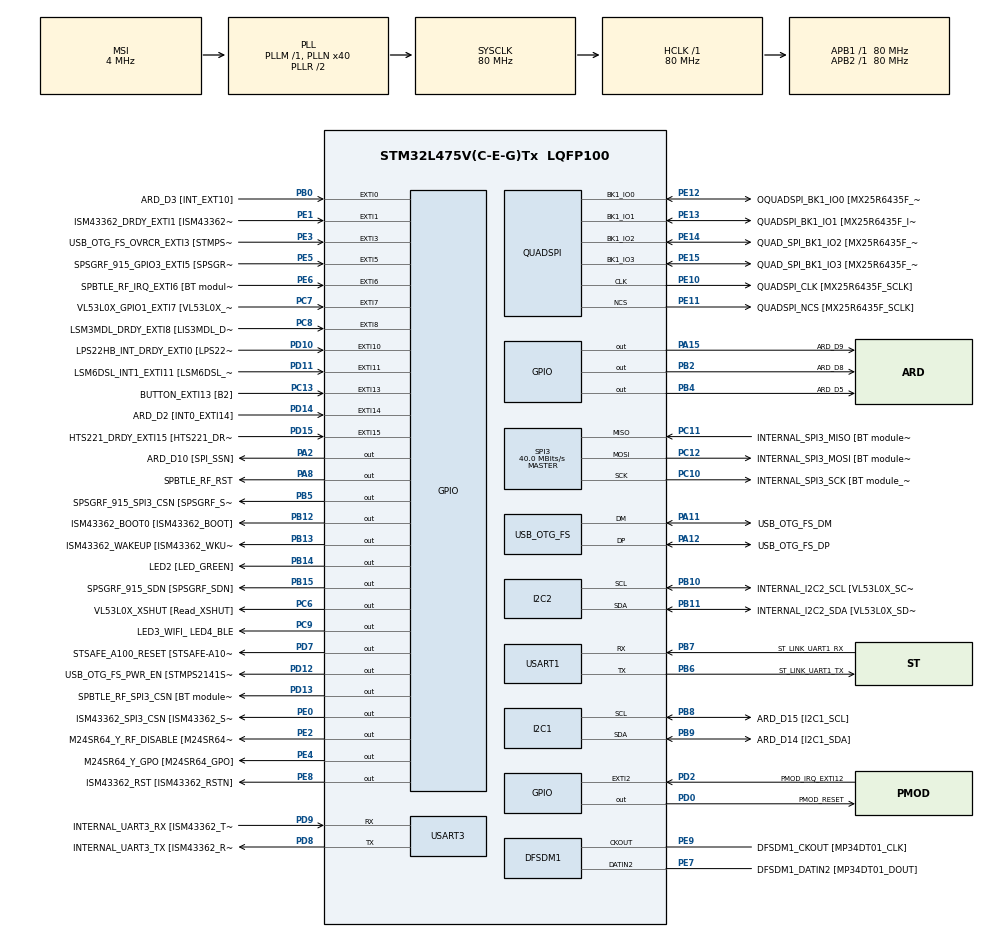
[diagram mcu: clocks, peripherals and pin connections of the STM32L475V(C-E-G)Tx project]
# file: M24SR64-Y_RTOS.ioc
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FREERTOS.Tasks01=defaultTask,0,128,StartDefaultTask,Default,NULL,Dynamic,NULL,NULL
I2C1.Timing=0x10D19CE4
Mcu.Family=STM32L4
Mcu.Name=STM32L475V(C-E-G)Tx
Mcu.Package=LQFP100
NVIC.EXTI15_10_IRQn=true\:5\:0\:false\:false\:true\:true\:true\:true\:true
NVIC.EXTI9_5_IRQn=true\:5\:0\:false\:false\:true\:true\:true\:true\:true
NVIC.PriorityGroup=NVIC_PRIORITYGROUP_4
PA0.GPIO_Label=ARD_D1 [UART4_TX]
PA0.Signal=UART4_TX
PA1.GPIO_Label=ARD_D0 [UART4_RX]
PA1.Signal=UART4_RX
PA10.GPIO_Label=USB_OTG_FS_ID
PA10.Signal=USB_OTG_FS_ID
PA11.GPIO_Label=USB_OTG_FS_DM
PA11.Mode=Device_Only
PA11.Signal=USB_OTG_FS_DM
PA12.GPIO_Label=USB_OTG_FS_DP
PA12.Mode=Device_Only
PA12.Signal=USB_OTG_FS_DP
PA13\ (JTMS-SWDIO).GPIO_Label=SYS_JTMS_SWDIO
PA13\ (JTMS-SWDIO).Mode=Serial_Wire
PA13\ (JTMS-SWDIO).Signal=SYS_JTMS-SWDIO
PA14\ (JTCK-SWCLK).GPIO_Label=SYS_JTCK_SWCLK
PA14\ (JTCK-SWCLK).Mode=Serial_Wire
PA14\ (JTCK-SWCLK).Signal=SYS_JTCK-SWCLK
PA15\ (JTDI).GPIO_Label=ARD_D9
PA15\ (JTDI).Signal=GPIO_Output
PA2.GPIO_Label=ARD_D10 [SPI_SSN]
PA2.Signal=GPIO_Output
PA3.GPIO_Label=ARD_D4
PA3.Signal=S_TIM2_CH4
PA4.GPIO_Label=ARD_D7
PA4.Signal=ADCx_IN9
PA5.GPIO_Label=ARD_D13 [SPI1_SCK]
PA5.Signal=SPI1_SCK
PA6.GPIO_Label=ARD_D12 [SPI1_MISO]
PA6.Signal=SPI1_MISO
PA7.GPIO_Label=ARD_D11 [SPI1_MOSI]
PA7.Signal=SPI1_MOSI
PA8.GPIO_Label=SPBTLE_RF_RST
PA8.Signal=GPIO_Output
PA9.GPIO_Label=USB_OTG_FS_VBUS [STMPS2141STR_OUT]
PA9.Signal=USB_OTG_FS_VBUS
PB0.GPIO_Label=ARD_D3 [INT_EXT10]
PB0.Signal=GPXTI0
PB1.GPIO_Label=ARD_D6 [ADC1_IN6]
PB1.Signal=ADCx_IN16
PB10.GPIO_Label=INTERNAL_I2C2_SCL [VL53L0X_SCL]
PB10.GPIO_Pu=GPIO_PULLUP
PB10.Mode=I2C
PB10.Signal=I2C2_SCL
PB11.GPIO_Label=INTERNAL_I2C2_SDA [VL53L0X_SDA]
PB11.GPIO_Pu=GPIO_PULLUP
PB11.Mode=I2C
PB11.Signal=I2C2_SDA
PB12.GPIO_Label=ISM43362_BOOT0 [ISM43362_BOOT]
PB12.Signal=GPIO_Output
PB13.GPIO_Label=ISM43362_WAKEUP [ISM43362_WKUP]
PB13.Signal=GPIO_Output
PB14.GPIO_Label=LED2 [LED_GREEN]
PB14.Signal=GPIO_Output
PB15.GPIO_Label=SPSGRF_915_SDN [SPSGRF_SDN]
PB15.Signal=GPIO_Output
PB2.GPIO_Label=ARD_D8
PB2.Signal=GPIO_Output
PB3\ (JTDO-TRACESWO).GPIO_Label=SYS_JTD0_SWO
PB3\ (JTDO-TRACESWO).Signal=SYS_JTDO-SWO
PB4\ (NJTRST).GPIO_Label=ARD_D5
PB4\ (NJTRST).Signal=GPIO_Output
PB5.GPIO_Label=SPSGRF_915_SPI3_CSN [SPSGRF_SPI_CS]
PB5.PinState=GPIO_PIN_SET
PB5.Signal=GPIO_Output
PB6.GPIO_Label=ST_LINK_UART1_TX
PB6.Mode=Asynchronous
PB6.Signal=USART1_TX
PB7.GPIO_Label=ST_LINK_UART1_RX
PB7.Mode=Asynchronous
PB7.Signal=USART1_RX
PB8.GPIO_Label=ARD_D15 [I2C1_SCL]
PB8.Mode=I2C
PB8.Signal=I2C1_SCL
PB9.GPIO_Label=ARD_D14 [I2C1_SDA]
PB9.Mode=I2C
PB9.Signal=I2C1_SDA
PC0.GPIO_Label=ARD_A5 [ADC]
PC0.Signal=ADCx_IN1
PC1.GPIO_Label=ARD_A4 [ADC]
PC1.Signal=ADCx_IN2
PC10.GPIO_Label=INTERNAL_SPI3_SCK [BT module_SPI_SCLK] [ISM43362_SCK]
PC10.Mode=Full_Duplex_Master
PC10.Signal=SPI3_SCK
PC11.GPIO_Label=INTERNAL_SPI3_MISO [BT module_SPI_MISO] [ISM43362_MISO]
PC11.Mode=Full_Duplex_Master
PC11.Signal=SPI3_MISO
PC12.GPIO_Label=INTERNAL_SPI3_MOSI [BT module_SPI_MOSI] [ISM43362_MOSI]
PC12.Mode=Full_Duplex_Master
PC12.Signal=SPI3_MOSI
PC13.GPIO_Label=BUTTON_EXTI13 [B2]
PC13.GPIO_ModeDefaultEXTI=GPIO_MODE_IT_FALLING
PC13.Signal=GPXTI13
PC14-OSC32_IN\ (PC14).Mode=LSE-External-Oscillator
PC14-OSC32_IN\ (PC14).Signal=RCC_OSC32_IN
PC15-OSC32_OUT\ (PC15).Mode=LSE-External-Oscillator
PC15-OSC32_OUT\ (PC15).Signal=RCC_OSC32_OUT
PC2.GPIO_Label=ARD_A3 [ADC]
PC2.Signal=ADCx_IN3
PC3.GPIO_Label=ARD_A2 [ADC]
PC3.Signal=ADCx_IN4
PC4.GPIO_Label=ARD_A1 [ADC]
PC4.Signal=ADCx_IN13
PC5.GPIO_Label=ARD_A0 [ADC]
PC5.Signal=ADCx_IN14
PC6.GPIO_Label=VL53L0X_XSHUT [Read_XSHUT]
PC6.Signal=GPIO_Output
PC7.GPIO_Label=VL53L0X_GPIO1_EXTI7 [VL53L0X_GPIO1]
PC7.Signal=GPXTI7
PC8.GPIO_Label=LSM3MDL_DRDY_EXTI8 [LIS3MDL_DRDY]
PC8.Signal=GPXTI8
PC9.GPIO_Label=LED3_WIFI_ LED4_BLE
PC9.Signal=GPIO_Output
PD0.GPIO_Label=PMOD_RESET
PD0.Signal=GPIO_Output
PD1.GPIO_Label=PMOD_SPI2_SCK
PD1.Signal=SPI2_SCK
PD10.GPIO_Label=LPS22HB_INT_DRDY_EXTI0 [LPS22HB_INT_DRDY] 
PD10.Signal=GPXTI10
PD11.GPIO_Label=LSM6DSL_INT1_EXTI11 [LSM6DSL_INT1]
PD11.Signal=GPXTI11
PD12.GPIO_Label=USB_OTG_FS_PWR_EN [STMPS2141STR_EN]
PD12.Signal=GPIO_Output
PD13.GPIO_Label=SPBTLE_RF_SPI3_CSN [BT module_SPI_CS]
PD13.PinState=GPIO_PIN_SET
PD13.Signal=GPIO_Output
PD14.GPIO_Label=ARD_D2 [INT0_EXTI14]
PD14.Signal=GPXTI14
PD15.GPIO_Label=HTS221_DRDY_EXTI15 [HTS221_DRDY]
PD15.Signal=GPXTI15
PD2.GPIO_Label=PMOD_IRQ_EXTI12
PD2.Signal=GPXTI2
PD3.GPIO_Label=PMOD_UART2_CTS
PD3.Signal=USART2_CTS
PD4.GPIO_Label=PMOD_UART2_RTS
PD4.Signal=USART2_RTS
PD5.GPIO_Label=PMOD_UART2_TX
PD5.Signal=USART2_TX
PD6.GPIO_Label=PMOD_UART2_RX
PD6.Signal=USART2_RX
PD7.GPIO_Label=STSAFE_A100_RESET [STSAFE-A100_RESET]
PD7.Signal=GPIO_Output
PD8.GPIO_Label=INTERNAL_UART3_TX [ISM43362_RX]
PD8.Mode=Asynchronous
PD8.Signal=USART3_TX
PD9.GPIO_Label=INTERNAL_UART3_RX [ISM43362_TX]
PD9.Mode=Asynchronous
PD9.Signal=USART3_RX
PE0.GPIO_Label=ISM43362_SPI3_CSN [ISM43362_SSN]
PE0.PinState=GPIO_PIN_SET
PE0.Signal=GPIO_Output
PE1.GPIO_Label=ISM43362_DRDY_EXTI1 [ISM43362_DATARDY]
PE1.Signal=GPXTI1
PE10.GPIO_Label=QUADSPI_CLK [MX25R6435F_SCLK]
PE10.Mode=Single Bank
PE10.Signal=QUADSPI_CLK
PE11.GPIO_Label=QUADSPI_NCS [MX25R6435F_SCLK]
PE11.Mode=Single Bank
PE11.Signal=QUADSPI_NCS
PE12.GPIO_Label=OQUADSPI_BK1_IO0 [MX25R6435F_IO0]
PE12.Mode=Single Bank
PE12.Signal=QUADSPI_BK1_IO0
PE13.GPIO_Label=QUADSPI_BK1_IO1 [MX25R6435F_IO1]
PE13.Mode=Single Bank
PE13.Signal=QUADSPI_BK1_IO1
PE14.GPIO_Label=QUAD_SPI_BK1_IO2 [MX25R6435F_IO2]
PE14.Mode=Single Bank
PE14.Signal=QUADSPI_BK1_IO2
PE15.GPIO_Label=QUAD_SPI_BK1_IO3 [MX25R6435F_IO3]
PE15.Mode=Single Bank
PE15.Signal=QUADSPI_BK1_IO3
PE2.GPIO_Label=M24SR64_Y_RF_DISABLE [M24SR64_RFDIS]
PE2.Signal=GPIO_Output
PE3.GPIO_Label=USB_OTG_FS_OVRCR_EXTI3 [STMPS2141STR_FAULT]
PE3.Signal=GPXTI3
PE4.GPIO_Label=M24SR64_Y_GPO [M24SR64_GPO]
PE4.Signal=GPIO_Output
PE5.GPIO_Label=SPSGRF_915_GPIO3_EXTI5 [SPSGRF_GPIO_3]
PE5.Signal=GPXTI5
PE6.GPIO_Label=SPBTLE_RF_IRQ_EXTI6 [BT module_SPI_IRQ]
PE6.Signal=GPXTI6
PE7.GPIO_Label=DFSDM1_DATIN2 [MP34DT01_DOUT]
PE7.Signal=S_DATAIN2DFSDM1
PE8.GPIO_Label=ISM43362_RST [ISM43362_RSTN]
PE8.Signal=GPIO_Output
PE9.GPIO_Label=DFSDM1_CKOUT [MP34DT01_CLK]
PE9.Signal=S_CKOUTDFSDM1
ProjectManager.HeapSize=0x200
ProjectManager.StackSize=0x400
ProjectManager.TargetToolchain=STM32CubeIDE
QUADSPI.ClockPrescaler=2
QUADSPI.FifoThreshold=4
QUADSPI.FlashSize=23
QUADSPI.SampleShifting=QSPI_SAMPLE_SHIFTING_HALFCYCLE
RCC.ADCFreq_Value=48000000
RCC.AHBFreq_Value=80000000
RCC.APB1Freq_Value=80000000
RCC.APB1TimFreq_Value=80000000
RCC.APB2Freq_Value=80000000
RCC.APB2TimFreq_Value=80000000
RCC.CortexFreq_Value=80000000
RCC.HCLKFreq_Value=80000000
RCC.HSE_VALUE=8000000
RCC.HSI_VALUE=16000000
RCC.MSI_VALUE=4000000
RCC.PLLN=40
RCC.PLLSAI1N=24
RCC.SYSCLKFreq_VALUE=80000000
RCC.SYSCLKSource=RCC_SYSCLKSOURCE_PLLCLK
RCC.USBFreq_Value=48000000
RCC.VCOOutputFreq_Value=160000000
SH.ADCx_IN1.0=ADC1_IN1
SH.ADCx_IN13.0=ADC1_IN13
SH.ADCx_IN14.0=ADC1_IN14
SH.ADCx_IN16.0=ADC1_IN16
SH.ADCx_IN2.0=ADC1_IN2
SH.ADCx_IN3.0=ADC1_IN3
SH.ADCx_IN4.0=ADC1_IN4
SH.ADCx_IN9.0=ADC1_IN9
SH.S_CKOUTDFSDM1.0=DFSDM1_CKOUT,CKOUT
SH.S_CKOUTDFSDM1.1=DFSDM1_CKOUT,PDM_SPI_Input_from_ch12_and_Internal_Clock
SH.S_DATAIN2DFSDM1.0=DFSDM1_DATIN2,PDM_SPI_Input_from_ch12_and_Internal_Clock
SH.S_TIM2_CH4.0=TIM2_CH4
SPI3.CalculateBaudRate=40.0 MBits/s
SPI3.Direction=SPI_DIRECTION_2LINES
SPI3.Mode=SPI_MODE_MASTER
SPI3.VirtualType=VM_MASTER
USART1.VirtualMode-Asynchronous=VM_ASYNC
USART3.VirtualMode-Asynchronous=VM_ASYNC
USB_OTG_FS.VirtualMode=Device_Only
VP_FREERTOS_VS_CMSIS_V1.Mode=CMSIS_V1
board=B-L475E-IOT01A1

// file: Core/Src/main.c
/* USER CODE BEGIN Header */
/**
  ******************************************************************************
  * @file           : main.c
  * @brief          : Main program body
  ******************************************************************************
  * @attention
  *
  * Copyright (c) 2026 STMicroelectronics.
  * All rights reserved.
  *
  * This software is licensed under terms that can be found in the LICENSE file
  * in the root directory of this software component.
  * If no LICENSE file comes with this software, it is provided AS-IS.
  *
  ******************************************************************************
  */
/* USER CODE END Header */
#include "main.h"
#include "cmsis_os.h"

/* USER CODE BEGIN Includes */
#include <string.h>
#include <stdio.h>
#include "task.h"
/* USER CODE END Includes */

/* USER CODE BEGIN PD */
#define M24SR_I2C_ADDR        (0x56 << 1)   /* = 0xAC  memory read/write  */
#define M24SR_I2C_ADDR_CMD    (0x57 << 1)   /* = 0xAE  extended commands  */
#define M24SR_HI2C            hi2c2
#define M24SR_I2C_TIMEOUT_MS  100
#define M24SR_WRITE_POLL_MS   5
#define M24SR_WRITE_POLL_MAX  40
#define M24SR_MEM_SIZE_BYTES  8192
#define M24SR_BLOCK_SIZE      4

#define M24SR_OK           0
#define M24SR_ERR_PARAM   -1
#define M24SR_ERR_I2C     -2
#define M24SR_ERR_TIMEOUT -3
/* USER CODE END PD */

DFSDM_Channel_HandleTypeDef hdfsdm1_channel1;

I2C_HandleTypeDef hi2c1;
I2C_HandleTypeDef hi2c2;

QSPI_HandleTypeDef hqspi;

SPI_HandleTypeDef hspi3;

UART_HandleTypeDef huart1;
UART_HandleTypeDef huart3;

PCD_HandleTypeDef hpcd_USB_OTG_FS;

osThreadId defaultTaskHandle;

void SystemClock_Config(void);
static void MX_GPIO_Init(void);
static void MX_DFSDM1_Init(void);
static void MX_I2C2_Init(void);
static void MX_QUADSPI_Init(void);
static void MX_SPI3_Init(void);
static void MX_USART1_UART_Init(void);
static void MX_USART3_UART_Init(void);
static void MX_USB_OTG_FS_PCD_Init(void);
static void MX_I2C1_Init(void);
void StartDefaultTask(void const * argument);

/* USER CODE BEGIN PFP */
int setupM24SR(void);
int peekM24SR(uint16_t adr, uint8_t *data);
int pokeM24SR(uint16_t adr, uint8_t *data);
int peekmultiM24SR(uint16_t adr, uint8_t *data, uint16_t count);
int pokemultiM24SR(uint16_t adr, uint8_t *data, uint16_t count);
/* USER CODE END PFP */

/* USER CODE BEGIN 0 */

/* M24SR NDEF command helpers */
#define M24SR_CMD_CLASS         0x00
#define M24SR_INS_SELECT        0xA4
#define M24SR_INS_READ          0xB0
#define M24SR_INS_UPDATE        0xD6

/* File IDs */
#define M24SR_FID_NDEF          0x0001   /* NDEF data file              */
#define M24SR_FID_SYS           0xE101   /* System file (read-only UID) */

static void uart_print(const char *s)
{
    HAL_UART_Transmit(&huart1, (const uint8_t *)s, strlen(s), 200);
}

/* Poll chip after write to detect if write cycle finished */
static int m24sr_wait_ready(void)
{
    for (int i = 0; i < M24SR_WRITE_POLL_MAX; i++)
    {
        if (HAL_I2C_Master_Transmit(&M24SR_HI2C, M24SR_I2C_ADDR,
                                     NULL, 0, M24SR_I2C_TIMEOUT_MS) == HAL_OK)
            return M24SR_OK;
        osDelay(M24SR_WRITE_POLL_MS);
    }
    return M24SR_ERR_TIMEOUT;
}

/* Get I2C session token */
static int m24sr_get_session(void)
{
    uint8_t cmd = 0x26;
    HAL_StatusTypeDef s = HAL_I2C_Master_Transmit(
            &M24SR_HI2C, M24SR_I2C_ADDR, &cmd, 1, M24SR_I2C_TIMEOUT_MS);
    if (s != HAL_OK) return M24SR_ERR_I2C;
    osDelay(5);
    return M24SR_OK;
}

/* Release existing session */
static int m24sr_kill_session(void)
{
    uint8_t cmd = 0x52;
    HAL_I2C_Master_Transmit(
            &M24SR_HI2C, M24SR_I2C_ADDR, &cmd, 1, M24SR_I2C_TIMEOUT_MS);
    osDelay(5);
    return M24SR_OK;
}

/* Compute a 16-bit CRC checksum over a block of bytes using the
 * CRC-16/CCITT algorithm with initial value 0x6363 */
static uint16_t m24sr_crc16(uint8_t *data, uint16_t len)
{
    uint16_t crc = 0x6363;
    for (uint16_t i = 0; i < len; i++)
    {
        uint8_t b = data[i] ^ (crc & 0xFF);
        b ^= (b << 4);
        crc = (crc >> 8) ^ ((uint16_t)b << 8) ^ ((uint16_t)b << 3) ^ (b >> 4);
    }
    return crc;
}

/* The core I2C framing function that all read and write operations go through */
static int m24sr_apdu(uint8_t *cmd, uint8_t cmd_len,
                       uint8_t *rsp, uint8_t *rsp_len)
{
	// build outgoing frame
    uint8_t frame[32];
    frame[0] = 0x02;
    memcpy(&frame[1], cmd, cmd_len);
    uint16_t crc = m24sr_crc16(frame, 1 + cmd_len);
    frame[1 + cmd_len]     = crc & 0xFF;
    frame[1 + cmd_len + 1] = (crc >> 8) & 0xFF;

    // transmit complete frame over I2C
    HAL_StatusTypeDef s = HAL_I2C_Master_Transmit(
            &M24SR_HI2C, M24SR_I2C_ADDR,
            frame, 1 + cmd_len + 2, M24SR_I2C_TIMEOUT_MS);
    if (s != HAL_OK) return M24SR_ERR_I2C;

    osDelay(20);

    // receive response frame and extract data
    uint8_t rbuf[32] = {0};
    s = HAL_I2C_Master_Receive(
            &M24SR_HI2C, M24SR_I2C_ADDR,
            rbuf, sizeof(rbuf), M24SR_I2C_TIMEOUT_MS);
    if (s != HAL_OK) return M24SR_ERR_I2C;

    if (rsp && rsp_len && *rsp_len > 0)
    {
        uint8_t n = *rsp_len;          // caller says how many data bytes expected
        memcpy(rsp, &rbuf[1], n);      // skip PCB, copy n data bytes
    }
    else if (rsp && rsp_len)
    {
        *rsp_len = 0;                  // write response: no data, just SW bytes
    }

    return M24SR_OK;
}

/* Select a file by FID */
static int m24sr_select_file(uint16_t fid)
{
    uint8_t cmd[7] = {
        M24SR_CMD_CLASS,
        M24SR_INS_SELECT,
        0x00, 0x0C,
        0x02,
        (fid >> 8) & 0xFF,
        fid & 0xFF
    };
    uint8_t rsp[32];
    uint8_t rlen = 0;
    return m24sr_apdu(cmd, sizeof(cmd), rsp, &rlen);
}

/* initialize access to device */
int setupM24SR(void)
{
    m24sr_kill_session();

    int rc = m24sr_get_session();
    if (rc != M24SR_OK) return rc;

    // Select NDEF file directly
    rc = m24sr_select_file(M24SR_FID_NDEF);
    return rc;
}

/* Write a single byte to the NDEF file at offset adr */
int peekM24SR(uint16_t adr, uint8_t *data)
{
    if (!data || adr >= M24SR_MEM_SIZE_BYTES) return M24SR_ERR_PARAM;
    uint8_t cmd[5] = {
        M24SR_CMD_CLASS, M24SR_INS_READ,
        (adr >> 8) & 0xFF, adr & 0xFF,
        0x01
    };
    uint8_t rsp[32]; uint8_t rlen = 1;   // expect 1 data byte
    int rc = m24sr_apdu(cmd, sizeof(cmd), rsp, &rlen);
    if (rc != M24SR_OK) return rc;
    *data = rsp[0];
    return M24SR_OK;
}

/* Read count consecutive bytes starting at offset adr in a single READ BINARY APDU with Le=count */
int peekmultiM24SR(uint16_t adr, uint8_t *data, uint16_t count)
{
    if (!data || count == 0 || count > 26) return M24SR_ERR_PARAM;
    if ((uint32_t)adr + count > M24SR_MEM_SIZE_BYTES) return M24SR_ERR_PARAM;
    uint8_t cmd[5] = {
        M24SR_CMD_CLASS, M24SR_INS_READ,
        (adr >> 8) & 0xFF, adr & 0xFF,
        (uint8_t)count
    };
    uint8_t rsp[32]; uint8_t rlen = (uint8_t)count;  // expect count data bytes
    int rc = m24sr_apdu(cmd, sizeof(cmd), rsp, &rlen);
    if (rc != M24SR_OK) return rc;
    memcpy(data, rsp, count);
    return M24SR_OK;
}

/* Write a single byte to the NDEF file at offset adr */
int pokeM24SR(uint16_t adr, uint8_t *data)
{
    if (!data || adr >= M24SR_MEM_SIZE_BYTES) return M24SR_ERR_PARAM;
    uint8_t cmd[6] = {
        M24SR_CMD_CLASS, M24SR_INS_UPDATE,
        (adr >> 8) & 0xFF, adr & 0xFF,
        0x01, *data
    };
    uint8_t rlen = 0;   // write: no data bytes returned
    int rc = m24sr_apdu(cmd, sizeof(cmd), NULL, &rlen);
    if (rc != M24SR_OK) return rc;
    return m24sr_wait_ready();
}

/* Write count bytes starting at offset adr, splitting the transfer into page-aligned
 * chunks of up to 4 bytes each (the M24SR's natural write page size). */
int pokemultiM24SR(uint16_t adr, uint8_t *data, uint16_t count)
{
    if (!data || count == 0) return M24SR_ERR_PARAM;
    if ((uint32_t)adr + count > M24SR_MEM_SIZE_BYTES) return M24SR_ERR_PARAM;

    uint16_t written = 0;
    while (written < count)
    {
        uint16_t cur   = adr + written;
        uint16_t chunk = count - written;
        if (chunk > M24SR_BLOCK_SIZE) chunk = M24SR_BLOCK_SIZE;

        uint8_t cmd[5 + M24SR_BLOCK_SIZE];
        cmd[0] = M24SR_CMD_CLASS;
        cmd[1] = M24SR_INS_UPDATE;
        cmd[2] = (cur >> 8) & 0xFF;
        cmd[3] = cur & 0xFF;
        cmd[4] = (uint8_t)chunk;
        memcpy(&cmd[5], &data[written], chunk);

        uint8_t rlen = 0;   // write: no data bytes returned
        int rc = m24sr_apdu(cmd, 5 + chunk, NULL, &rlen);
        if (rc != M24SR_OK) return rc;

        int r = m24sr_wait_ready();
        if (r != M24SR_OK) return r;

        written += chunk;
    }
    return M24SR_OK;
}

/* USER CODE END 0 */

int main(void)
{

  /* MCU Configuration--------------------------------------------------------*/

  /* Reset of all peripherals, Initializes the Flash interface and the Systick. */
  HAL_Init();

  /* Configure the system clock */
  SystemClock_Config();

  /* Initialize all configured peripherals */
  MX_GPIO_Init();
  MX_DFSDM1_Init();
  MX_I2C2_Init();
  MX_QUADSPI_Init();
  MX_SPI3_Init();
  MX_USART1_UART_Init();
  MX_USART3_UART_Init();
  MX_USB_OTG_FS_PCD_Init();
  MX_I2C1_Init();
  /* USER CODE BEGIN 2 */

  /* Assert RF_DISABLE to give I2C exclusive access to M24SR */
  HAL_GPIO_WritePin(GPIOE, M24SR64_Y_RF_DISABLE_Pin, GPIO_PIN_SET);
  HAL_Delay(5);

  /* Bit-bang bus reset: clock up to 9 SCL pulses to un-stick any
     slave that was left mid-transaction by a previous reset/flash   */
  {
      GPIO_InitTypeDef g = {0};

      /* Reconfigure PB10=SCL, PB11=SDA as open-drain GPIO */
      g.Pin   = GPIO_PIN_10 | GPIO_PIN_11;
      g.Mode  = GPIO_MODE_OUTPUT_OD;
      g.Pull  = GPIO_NOPULL;
      g.Speed = GPIO_SPEED_FREQ_LOW;
      HAL_GPIO_Init(GPIOB, &g);

      HAL_GPIO_WritePin(GPIOB, GPIO_PIN_10 | GPIO_PIN_11, GPIO_PIN_SET);
      HAL_Delay(2);

      for (int i = 0; i < 9; i++)
      {
          HAL_GPIO_WritePin(GPIOB, GPIO_PIN_10, GPIO_PIN_RESET);
          HAL_Delay(1);
          HAL_GPIO_WritePin(GPIOB, GPIO_PIN_10, GPIO_PIN_SET);
          HAL_Delay(1);
          if (HAL_GPIO_ReadPin(GPIOB, GPIO_PIN_11) == GPIO_PIN_SET)
              break;  // SDA released, slave is free
      }

      /* STOP condition: SDA low -> high while SCL high */
      HAL_GPIO_WritePin(GPIOB, GPIO_PIN_11, GPIO_PIN_RESET);
      HAL_Delay(1);
      HAL_GPIO_WritePin(GPIOB, GPIO_PIN_11, GPIO_PIN_SET);
      HAL_Delay(1);

      /* Return pins to I2C2 alternate function */
      g.Pin       = GPIO_PIN_10 | GPIO_PIN_11;
      g.Mode      = GPIO_MODE_AF_OD;
      g.Pull      = GPIO_NOPULL;
      g.Speed     = GPIO_SPEED_FREQ_VERY_HIGH;
      g.Alternate = GPIO_AF4_I2C2;
      HAL_GPIO_Init(GPIOB, &g);
  }

  /* Re-init I2C2 cleanly after bit-bang (pins were temporarily GPIO) */
  HAL_I2C_DeInit(&hi2c2);
  hi2c2.Init.Timing = 0x10D19CE4;  // 100 kHz
  HAL_I2C_Init(&hi2c2);
  HAL_Delay(5);

  /* USER CODE END 2 */

  /* Create the thread(s) */
  /* definition and creation of defaultTask */
  osThreadDef(defaultTask, StartDefaultTask, osPriorityNormal, 0, 512);
  defaultTaskHandle = osThreadCreate(osThread(defaultTask), NULL);

  /* Start scheduler */
  osKernelStart();

  /* We should never get here as control is now taken by the scheduler */

  /* Infinite loop */
  while (1)
  {

  }
}

void SystemClock_Config(void)
{
  RCC_OscInitTypeDef RCC_OscInitStruct = {0};
  RCC_ClkInitTypeDef RCC_ClkInitStruct = {0};

  /** Configure the main internal regulator output voltage
  */
  if (HAL_PWREx_ControlVoltageScaling(PWR_REGULATOR_VOLTAGE_SCALE1) != HAL_OK)
  {
    Error_Handler();
  }

  /** Configure LSE Drive Capability
  */
  HAL_PWR_EnableBkUpAccess();
  __HAL_RCC_LSEDRIVE_CONFIG(RCC_LSEDRIVE_LOW);

  /** Initializes the RCC Oscillators according to the specified parameters
  * in the RCC_OscInitTypeDef structure.
  */
  RCC_OscInitStruct.OscillatorType = RCC_OSCILLATORTYPE_LSE|RCC_OSCILLATORTYPE_MSI;
  RCC_OscInitStruct.LSEState = RCC_LSE_ON;
  RCC_OscInitStruct.MSIState = RCC_MSI_ON;
  RCC_OscInitStruct.MSICalibrationValue = 0;
  RCC_OscInitStruct.MSIClockRange = RCC_MSIRANGE_6;
  RCC_OscInitStruct.PLL.PLLState = RCC_PLL_ON;
  RCC_OscInitStruct.PLL.PLLSource = RCC_PLLSOURCE_MSI;
  RCC_OscInitStruct.PLL.PLLM = 1;
  RCC_OscInitStruct.PLL.PLLN = 40;
  RCC_OscInitStruct.PLL.PLLP = RCC_PLLP_DIV7;
  RCC_OscInitStruct.PLL.PLLQ = RCC_PLLQ_DIV2;
  RCC_OscInitStruct.PLL.PLLR = RCC_PLLR_DIV2;
  if (HAL_RCC_OscConfig(&RCC_OscInitStruct) != HAL_OK)
  {
    Error_Handler();
  }

  /** Initializes the CPU, AHB and APB buses clocks
  */
  RCC_ClkInitStruct.ClockType = RCC_CLOCKTYPE_HCLK|RCC_CLOCKTYPE_SYSCLK
                              |RCC_CLOCKTYPE_PCLK1|RCC_CLOCKTYPE_PCLK2;
  RCC_ClkInitStruct.SYSCLKSource = RCC_SYSCLKSOURCE_PLLCLK;
  RCC_ClkInitStruct.AHBCLKDivider = RCC_SYSCLK_DIV1;
  RCC_ClkInitStruct.APB1CLKDivider = RCC_HCLK_DIV1;
  RCC_ClkInitStruct.APB2CLKDivider = RCC_HCLK_DIV1;

  if (HAL_RCC_ClockConfig(&RCC_ClkInitStruct, FLASH_LATENCY_4) != HAL_OK)
  {
    Error_Handler();
  }

  /** Enable MSI Auto calibration
  */
  HAL_RCCEx_EnableMSIPLLMode();
}

static void MX_DFSDM1_Init(void)
{

  hdfsdm1_channel1.Instance = DFSDM1_Channel1;
  hdfsdm1_channel1.Init.OutputClock.Activation = ENABLE;
  hdfsdm1_channel1.Init.OutputClock.Selection = DFSDM_CHANNEL_OUTPUT_CLOCK_SYSTEM;
  hdfsdm1_channel1.Init.OutputClock.Divider = 2;
  hdfsdm1_channel1.Init.Input.Multiplexer = DFSDM_CHANNEL_EXTERNAL_INPUTS;
  hdfsdm1_channel1.Init.Input.DataPacking = DFSDM_CHANNEL_STANDARD_MODE;
  hdfsdm1_channel1.Init.Input.Pins = DFSDM_CHANNEL_FOLLOWING_CHANNEL_PINS;
  hdfsdm1_channel1.Init.SerialInterface.Type = DFSDM_CHANNEL_SPI_RISING;
  hdfsdm1_channel1.Init.SerialInterface.SpiClock = DFSDM_CHANNEL_SPI_CLOCK_INTERNAL;
  hdfsdm1_channel1.Init.Awd.FilterOrder = DFSDM_CHANNEL_FASTSINC_ORDER;
  hdfsdm1_channel1.Init.Awd.Oversampling = 1;
  hdfsdm1_channel1.Init.Offset = 0;
  hdfsdm1_channel1.Init.RightBitShift = 0x00;
  if (HAL_DFSDM_ChannelInit(&hdfsdm1_channel1) != HAL_OK)
  {
    Error_Handler();
  }

}

static void MX_I2C1_Init(void)
{

  hi2c1.Instance = I2C1;
  hi2c1.Init.Timing = 0x10D19CE4;
  hi2c1.Init.OwnAddress1 = 0;
  hi2c1.Init.AddressingMode = I2C_ADDRESSINGMODE_7BIT;
  hi2c1.Init.DualAddressMode = I2C_DUALADDRESS_DISABLE;
  hi2c1.Init.OwnAddress2 = 0;
  hi2c1.Init.OwnAddress2Masks = I2C_OA2_NOMASK;
  hi2c1.Init.GeneralCallMode = I2C_GENERALCALL_DISABLE;
  hi2c1.Init.NoStretchMode = I2C_NOSTRETCH_DISABLE;
  if (HAL_I2C_Init(&hi2c1) != HAL_OK)
  {
    Error_Handler();
  }

  /** Configure Analogue filter
  */
  if (HAL_I2CEx_ConfigAnalogFilter(&hi2c1, I2C_ANALOGFILTER_ENABLE) != HAL_OK)
  {
    Error_Handler();
  }

  /** Configure Digital filter
  */
  if (HAL_I2CEx_ConfigDigitalFilter(&hi2c1, 0) != HAL_OK)
  {
    Error_Handler();
  }

}

static void MX_I2C2_Init(void)
{

  hi2c2.Instance = I2C2;
  hi2c2.Init.Timing = 0x10D19CE4;
  hi2c2.Init.OwnAddress1 = 0;
  hi2c2.Init.AddressingMode = I2C_ADDRESSINGMODE_7BIT;
  hi2c2.Init.DualAddressMode = I2C_DUALADDRESS_DISABLE;
  hi2c2.Init.OwnAddress2 = 0;
  hi2c2.Init.OwnAddress2Masks = I2C_OA2_NOMASK;
  hi2c2.Init.GeneralCallMode = I2C_GENERALCALL_DISABLE;
  hi2c2.Init.NoStretchMode = I2C_NOSTRETCH_DISABLE;
  if (HAL_I2C_Init(&hi2c2) != HAL_OK)
  {
    Error_Handler();
  }

  /** Configure Analogue filter
  */
  if (HAL_I2CEx_ConfigAnalogFilter(&hi2c2, I2C_ANALOGFILTER_ENABLE) != HAL_OK)
  {
    Error_Handler();
  }

  /** Configure Digital filter
  */
  if (HAL_I2CEx_ConfigDigitalFilter(&hi2c2, 0) != HAL_OK)
  {
    Error_Handler();
  }

}

static void MX_QUADSPI_Init(void)
{

  /* QUADSPI parameter configuration*/
  hqspi.Instance = QUADSPI;
  hqspi.Init.ClockPrescaler = 2;
  hqspi.Init.FifoThreshold = 4;
  hqspi.Init.SampleShifting = QSPI_SAMPLE_SHIFTING_HALFCYCLE;
  hqspi.Init.FlashSize = 23;
  hqspi.Init.ChipSelectHighTime = QSPI_CS_HIGH_TIME_1_CYCLE;
  hqspi.Init.ClockMode = QSPI_CLOCK_MODE_0;
  if (HAL_QSPI_Init(&hqspi) != HAL_OK)
  {
    Error_Handler();
  }

}

static void MX_SPI3_Init(void)
{

  /* SPI3 parameter configuration*/
  hspi3.Instance = SPI3;
  hspi3.Init.Mode = SPI_MODE_MASTER;
  hspi3.Init.Direction = SPI_DIRECTION_2LINES;
  hspi3.Init.DataSize = SPI_DATASIZE_4BIT;
  hspi3.Init.CLKPolarity = SPI_POLARITY_LOW;
  hspi3.Init.CLKPhase = SPI_PHASE_1EDGE;
  hspi3.Init.NSS = SPI_NSS_SOFT;
  hspi3.Init.BaudRatePrescaler = SPI_BAUDRATEPRESCALER_2;
  hspi3.Init.FirstBit = SPI_FIRSTBIT_MSB;
  hspi3.Init.TIMode = SPI_TIMODE_DISABLE;
  hspi3.Init.CRCCalculation = SPI_CRCCALCULATION_DISABLE;
  hspi3.Init.CRCPolynomial = 7;
  hspi3.Init.CRCLength = SPI_CRC_LENGTH_DATASIZE;
  hspi3.Init.NSSPMode = SPI_NSS_PULSE_ENABLE;
  if (HAL_SPI_Init(&hspi3) != HAL_OK)
  {
    Error_Handler();
  }

}

static void MX_USART1_UART_Init(void)
{

  huart1.Instance = USART1;
  huart1.Init.BaudRate = 115200;
  huart1.Init.WordLength = UART_WORDLENGTH_8B;
  huart1.Init.StopBits = UART_STOPBITS_1;
  huart1.Init.Parity = UART_PARITY_NONE;
  huart1.Init.Mode = UART_MODE_TX_RX;
  huart1.Init.HwFlowCtl = UART_HWCONTROL_NONE;
  huart1.Init.OverSampling = UART_OVERSAMPLING_16;
  huart1.Init.OneBitSampling = UART_ONE_BIT_SAMPLE_DISABLE;
  huart1.AdvancedInit.AdvFeatureInit = UART_ADVFEATURE_NO_INIT;
  if (HAL_UART_Init(&huart1) != HAL_OK)
  {
    Error_Handler();
  }

}

static void MX_USART3_UART_Init(void)
{

  huart3.Instance = USART3;
  huart3.Init.BaudRate = 115200;
  huart3.Init.WordLength = UART_WORDLENGTH_8B;
  huart3.Init.StopBits = UART_STOPBITS_1;
  huart3.Init.Parity = UART_PARITY_NONE;
  huart3.Init.Mode = UART_MODE_TX_RX;
  huart3.Init.HwFlowCtl = UART_HWCONTROL_NONE;
  huart3.Init.OverSampling = UART_OVERSAMPLING_16;
  huart3.Init.OneBitSampling = UART_ONE_BIT_SAMPLE_DISABLE;
  huart3.AdvancedInit.AdvFeatureInit = UART_ADVFEATURE_NO_INIT;
  if (HAL_UART_Init(&huart3) != HAL_OK)
  {
    Error_Handler();
  }

}

static void MX_USB_OTG_FS_PCD_Init(void)
{

  hpcd_USB_OTG_FS.Instance = USB_OTG_FS;
  hpcd_USB_OTG_FS.Init.dev_endpoints = 6;
  hpcd_USB_OTG_FS.Init.speed = PCD_SPEED_FULL;
  hpcd_USB_OTG_FS.Init.phy_itface = PCD_PHY_EMBEDDED;
  hpcd_USB_OTG_FS.Init.Sof_enable = DISABLE;
  hpcd_USB_OTG_FS.Init.low_power_enable = DISABLE;
  hpcd_USB_OTG_FS.Init.lpm_enable = DISABLE;
  hpcd_USB_OTG_FS.Init.battery_charging_enable = DISABLE;
  hpcd_USB_OTG_FS.Init.use_dedicated_ep1 = DISABLE;
  hpcd_USB_OTG_FS.Init.vbus_sensing_enable = DISABLE;
  if (HAL_PCD_Init(&hpcd_USB_OTG_FS) != HAL_OK)
  {
    Error_Handler();
  }

}

static void MX_GPIO_Init(void)
{
  GPIO_InitTypeDef GPIO_InitStruct = {0};

  /* GPIO Ports Clock Enable */
  __HAL_RCC_GPIOE_CLK_ENABLE();
  __HAL_RCC_GPIOC_CLK_ENABLE();
  __HAL_RCC_GPIOA_CLK_ENABLE();
  __HAL_RCC_GPIOB_CLK_ENABLE();
  __HAL_RCC_GPIOD_CLK_ENABLE();

  /*Configure GPIO pin Output Level */
  HAL_GPIO_WritePin(GPIOE, M24SR64_Y_RF_DISABLE_Pin|M24SR64_Y_GPO_Pin|ISM43362_RST_Pin, GPIO_PIN_RESET);

  /*Configure GPIO pin Output Level */
  HAL_GPIO_WritePin(GPIOA, ARD_D10_Pin|SPBTLE_RF_RST_Pin|ARD_D9_Pin, GPIO_PIN_RESET);

  /*Configure GPIO pin Output Level */
  HAL_GPIO_WritePin(GPIOB, ARD_D8_Pin|ISM43362_BOOT0_Pin|ISM43362_WAKEUP_Pin|LED2_Pin
                          |SPSGRF_915_SDN_Pin|ARD_D5_Pin, GPIO_PIN_RESET);

  /*Configure GPIO pin Output Level */
  HAL_GPIO_WritePin(GPIOD, USB_OTG_FS_PWR_EN_Pin|PMOD_RESET_Pin|STSAFE_A100_RESET_Pin, GPIO_PIN_RESET);

  /*Configure GPIO pin Output Level */
  HAL_GPIO_WritePin(SPBTLE_RF_SPI3_CSN_GPIO_Port, SPBTLE_RF_SPI3_CSN_Pin, GPIO_PIN_SET);

  /*Configure GPIO pin Output Level */
  HAL_GPIO_WritePin(GPIOC, VL53L0X_XSHUT_Pin|LED3_WIFI__LED4_BLE_Pin, GPIO_PIN_RESET);

  /*Configure GPIO pin Output Level */
  HAL_GPIO_WritePin(SPSGRF_915_SPI3_CSN_GPIO_Port, SPSGRF_915_SPI3_CSN_Pin, GPIO_PIN_SET);

  /*Configure GPIO pin Output Level */
  HAL_GPIO_WritePin(ISM43362_SPI3_CSN_GPIO_Port, ISM43362_SPI3_CSN_Pin, GPIO_PIN_SET);

  /*Configure GPIO pins : M24SR64_Y_RF_DISABLE_Pin M24SR64_Y_GPO_Pin ISM43362_RST_Pin ISM43362_SPI3_CSN_Pin */
  GPIO_InitStruct.Pin = M24SR64_Y_RF_DISABLE_Pin|M24SR64_Y_GPO_Pin|ISM43362_RST_Pin|ISM43362_SPI3_CSN_Pin;
  GPIO_InitStruct.Mode = GPIO_MODE_OUTPUT_PP;
  GPIO_InitStruct.Pull = GPIO_NOPULL;
  GPIO_InitStruct.Speed = GPIO_SPEED_FREQ_LOW;
  HAL_GPIO_Init(GPIOE, &GPIO_InitStruct);

  /*Configure GPIO pins : USB_OTG_FS_OVRCR_EXTI3_Pin SPSGRF_915_GPIO3_EXTI5_Pin SPBTLE_RF_IRQ_EXTI6_Pin ISM43362_DRDY_EXTI1_Pin */
  GPIO_InitStruct.Pin = USB_OTG_FS_OVRCR_EXTI3_Pin|SPSGRF_915_GPIO3_EXTI5_Pin|SPBTLE_RF_IRQ_EXTI6_Pin|ISM43362_DRDY_EXTI1_Pin;
  GPIO_InitStruct.Mode = GPIO_MODE_IT_RISING;
  GPIO_InitStruct.Pull = GPIO_NOPULL;
  HAL_GPIO_Init(GPIOE, &GPIO_InitStruct);

  /*Configure GPIO pin : BUTTON_EXTI13_Pin */
  GPIO_InitStruct.Pin = BUTTON_EXTI13_Pin;
  GPIO_InitStruct.Mode = GPIO_MODE_IT_FALLING;
  GPIO_InitStruct.Pull = GPIO_NOPULL;
  HAL_GPIO_Init(BUTTON_EXTI13_GPIO_Port, &GPIO_InitStruct);

  /*Configure GPIO pins : ARD_A5_Pin ARD_A4_Pin ARD_A3_Pin ARD_A2_Pin
                           ARD_A1_Pin ARD_A0_Pin */
  GPIO_InitStruct.Pin = ARD_A5_Pin|ARD_A4_Pin|ARD_A3_Pin|ARD_A2_Pin
                          |ARD_A1_Pin|ARD_A0_Pin;
  GPIO_InitStruct.Mode = GPIO_MODE_ANALOG_ADC_CONTROL;
  GPIO_InitStruct.Pull = GPIO_NOPULL;
  HAL_GPIO_Init(GPIOC, &GPIO_InitStruct);

  /*Configure GPIO pins : ARD_D1_Pin ARD_D0_Pin */
  GPIO_InitStruct.Pin = ARD_D1_Pin|ARD_D0_Pin;
  GPIO_InitStruct.Mode = GPIO_MODE_AF_PP;
  GPIO_InitStruct.Pull = GPIO_NOPULL;
  GPIO_InitStruct.Speed = GPIO_SPEED_FREQ_VERY_HIGH;
  GPIO_InitStruct.Alternate = GPIO_AF8_UART4;
  HAL_GPIO_Init(GPIOA, &GPIO_InitStruct);

  /*Configure GPIO pins : ARD_D10_Pin SPBTLE_RF_RST_Pin ARD_D9_Pin */
  GPIO_InitStruct.Pin = ARD_D10_Pin|SPBTLE_RF_RST_Pin|ARD_D9_Pin;
  GPIO_InitStruct.Mode = GPIO_MODE_OUTPUT_PP;
  GPIO_InitStruct.Pull = GPIO_NOPULL;
  GPIO_InitStruct.Speed = GPIO_SPEED_FREQ_LOW;
  HAL_GPIO_Init(GPIOA, &GPIO_InitStruct);

  /*Configure GPIO pin : ARD_D4_Pin */
  GPIO_InitStruct.Pin = ARD_D4_Pin;
  GPIO_InitStruct.Mode = GPIO_MODE_AF_PP;
  GPIO_InitStruct.Pull = GPIO_NOPULL;
  GPIO_InitStruct.Speed = GPIO_SPEED_FREQ_LOW;
  GPIO_InitStruct.Alternate = GPIO_AF1_TIM2;
  HAL_GPIO_Init(ARD_D4_GPIO_Port, &GPIO_InitStruct);

  /*Configure GPIO pin : ARD_D7_Pin */
  GPIO_InitStruct.Pin = ARD_D7_Pin;
  GPIO_InitStruct.Mode = GPIO_MODE_ANALOG_ADC_CONTROL;
  GPIO_InitStruct.Pull = GPIO_NOPULL;
  HAL_GPIO_Init(ARD_D7_GPIO_Port, &GPIO_InitStruct);

  /*Configure GPIO pins : ARD_D13_Pin ARD_D12_Pin ARD_D11_Pin */
  GPIO_InitStruct.Pin = ARD_D13_Pin|ARD_D12_Pin|ARD_D11_Pin;
  GPIO_InitStruct.Mode = GPIO_MODE_AF_PP;
  GPIO_InitStruct.Pull = GPIO_NOPULL;
  GPIO_InitStruct.Speed = GPIO_SPEED_FREQ_VERY_HIGH;
  GPIO_InitStruct.Alternate = GPIO_AF5_SPI1;
  HAL_GPIO_Init(GPIOA, &GPIO_InitStruct);

  /*Configure GPIO pin : ARD_D3_Pin */
  GPIO_InitStruct.Pin = ARD_D3_Pin;
  GPIO_InitStruct.Mode = GPIO_MODE_IT_RISING;
  GPIO_InitStruct.Pull = GPIO_NOPULL;
  HAL_GPIO_Init(ARD_D3_GPIO_Port, &GPIO_InitStruct);

  /*Configure GPIO pin : ARD_D6_Pin */
  GPIO_InitStruct.Pin = ARD_D6_Pin;
  GPIO_InitStruct.Mode = GPIO_MODE_ANALOG_ADC_CONTROL;
  GPIO_InitStruct.Pull = GPIO_NOPULL;
  HAL_GPIO_Init(ARD_D6_GPIO_Port, &GPIO_InitStruct);

  /*Configure GPIO pins : ARD_D8_Pin ISM43362_BOOT0_Pin ISM43362_WAKEUP_Pin LED2_Pin
                           SPSGRF_915_SDN_Pin ARD_D5_Pin SPSGRF_915_SPI3_CSN_Pin */
  GPIO_InitStruct.Pin = ARD_D8_Pin|ISM43362_BOOT0_Pin|ISM43362_WAKEUP_Pin|LED2_Pin
                          |SPSGRF_915_SDN_Pin|ARD_D5_Pin|SPSGRF_915_SPI3_CSN_Pin;
  GPIO_InitStruct.Mode = GPIO_MODE_OUTPUT_PP;
  GPIO_InitStruct.Pull = GPIO_NOPULL;
  GPIO_InitStruct.Speed = GPIO_SPEED_FREQ_LOW;
  HAL_GPIO_Init(GPIOB, &GPIO_InitStruct);

  /*Configure GPIO pins : LPS22HB_INT_DRDY_EXTI0_Pin LSM6DSL_INT1_EXTI11_Pin ARD_D2_Pin HTS221_DRDY_EXTI15_Pin
                           PMOD_IRQ_EXTI12_Pin */
  GPIO_InitStruct.Pin = LPS22HB_INT_DRDY_EXTI0_Pin|LSM6DSL_INT1_EXTI11_Pin|ARD_D2_Pin|HTS221_DRDY_EXTI15_Pin
                          |PMOD_IRQ_EXTI12_Pin;
  GPIO_InitStruct.Mode = GPIO_MODE_IT_RISING;
  GPIO_InitStruct.Pull = GPIO_NOPULL;
  HAL_GPIO_Init(GPIOD, &GPIO_InitStruct);

  /*Configure GPIO pins : USB_OTG_FS_PWR_EN_Pin SPBTLE_RF_SPI3_CSN_Pin PMOD_RESET_Pin STSAFE_A100_RESET_Pin */
  GPIO_InitStruct.Pin = USB_OTG_FS_PWR_EN_Pin|SPBTLE_RF_SPI3_CSN_Pin|PMOD_RESET_Pin|STSAFE_A100_RESET_Pin;
  GPIO_InitStruct.Mode = GPIO_MODE_OUTPUT_PP;
  GPIO_InitStruct.Pull = GPIO_NOPULL;
  GPIO_InitStruct.Speed = GPIO_SPEED_FREQ_LOW;
  HAL_GPIO_Init(GPIOD, &GPIO_InitStruct);

  /*Configure GPIO pins : VL53L0X_XSHUT_Pin LED3_WIFI__LED4_BLE_Pin */
  GPIO_InitStruct.Pin = VL53L0X_XSHUT_Pin|LED3_WIFI__LED4_BLE_Pin;
  GPIO_InitStruct.Mode = GPIO_MODE_OUTPUT_PP;
  GPIO_InitStruct.Pull = GPIO_NOPULL;
  GPIO_InitStruct.Speed = GPIO_SPEED_FREQ_LOW;
  HAL_GPIO_Init(GPIOC, &GPIO_InitStruct);

  /*Configure GPIO pins : VL53L0X_GPIO1_EXTI7_Pin LSM3MDL_DRDY_EXTI8_Pin */
  GPIO_InitStruct.Pin = VL53L0X_GPIO1_EXTI7_Pin|LSM3MDL_DRDY_EXTI8_Pin;
  GPIO_InitStruct.Mode = GPIO_MODE_IT_RISING;
  GPIO_InitStruct.Pull = GPIO_NOPULL;
  HAL_GPIO_Init(GPIOC, &GPIO_InitStruct);

  /*Configure GPIO pin : PMOD_SPI2_SCK_Pin */
  GPIO_InitStruct.Pin = PMOD_SPI2_SCK_Pin;
  GPIO_InitStruct.Mode = GPIO_MODE_AF_PP;
  GPIO_InitStruct.Pull = GPIO_NOPULL;
  GPIO_InitStruct.Speed = GPIO_SPEED_FREQ_VERY_HIGH;
  GPIO_InitStruct.Alternate = GPIO_AF5_SPI2;
  HAL_GPIO_Init(PMOD_SPI2_SCK_GPIO_Port, &GPIO_InitStruct);

  /*Configure GPIO pins : PMOD_UART2_CTS_Pin PMOD_UART2_RTS_Pin PMOD_UART2_TX_Pin PMOD_UART2_RX_Pin */
  GPIO_InitStruct.Pin = PMOD_UART2_CTS_Pin|PMOD_UART2_RTS_Pin|PMOD_UART2_TX_Pin|PMOD_UART2_RX_Pin;
  GPIO_InitStruct.Mode = GPIO_MODE_AF_PP;
  GPIO_InitStruct.Pull = GPIO_NOPULL;
  GPIO_InitStruct.Speed = GPIO_SPEED_FREQ_VERY_HIGH;
  GPIO_InitStruct.Alternate = GPIO_AF7_USART2;
  HAL_GPIO_Init(GPIOD, &GPIO_InitStruct);

  /* EXTI interrupt init*/
  HAL_NVIC_SetPriority(EXTI9_5_IRQn, 5, 0);
  HAL_NVIC_EnableIRQ(EXTI9_5_IRQn);

  HAL_NVIC_SetPriority(EXTI15_10_IRQn, 5, 0);
  HAL_NVIC_EnableIRQ(EXTI15_10_IRQn);

  /* USER CODE BEGIN MX_GPIO_Init_2 */
  HAL_GPIO_WritePin(GPIOE, M24SR64_Y_RF_DISABLE_Pin, GPIO_PIN_SET);
  /* USER CODE END MX_GPIO_Init_2 */
}

/* USER CODE BEGIN 4 */

/* Override HAL's tick source to use FreeRTOS ticks.
   Once osKernelStart() runs, the SysTick ISR belongs to FreeRTOS and
   uwTick stops incrementing. HAL_GetTick() then returns a frozen value
   and every HAL timeout spins forever. Overriding it here makes all
   HAL_I2C / HAL_UART timeout logic work correctly inside tasks.      */
uint32_t HAL_GetTick(void)
{
    if (xTaskGetSchedulerState() == taskSCHEDULER_NOT_STARTED)
        return uwTick;           /* before scheduler: use normal HAL tick */
    return xTaskGetTickCount();  /* after scheduler: use FreeRTOS tick    */
}

/* USER CODE END 4 */

void StartDefaultTask(void const * argument)
{
  /* USER CODE BEGIN 5 */
  char msg[80];
  int  rc;
  osDelay(500);

  uart_print("\r\n=== M24SR64-Y Driver Test ===\r\n");

  /* [1] driver establish connection */
  rc = setupM24SR();
  snprintf(msg, sizeof(msg), "[1] setup -> %d (should be 0)\r\n", rc);
  uart_print(msg);

  /* [2] peek byte 0 — NDEF length MSB */
  uint8_t magic = 0;
  rc = peekM24SR(0x0000, &magic);
  snprintf(msg, sizeof(msg), "[2] peek(0x0000) rc=%d val=0x%02X (should be 0, 0x00)\r\n", rc, magic);
  uart_print(msg);

  /* [3] multi-read first 8 bytes of NDEF file */
  uint8_t hdr[8] = {0};
  rc = peekmultiM24SR(0x0000, hdr, 8);
  snprintf(msg, sizeof(msg), "[3] peekm(0,8) rc=%d (should be 0)\r\n", rc);
  uart_print(msg);
  snprintf(msg, sizeof(msg), "    %02X %02X %02X %02X %02X %02X %02X %02X\r\n",
           hdr[0],hdr[1],hdr[2],hdr[3],hdr[4],hdr[5],hdr[6],hdr[7]);
  uart_print(msg);

  /* [4] write 4 bytes at offset 0x0002 (inside existing NDEF content)
         then read back and verify.
         We save the original first so we can restore it after. */
  uint8_t original[4] = {0};
  peekmultiM24SR(0x0002, original, 4);

  uint8_t pattern[4]  = {0xDE, 0xAD, 0xBE, 0xEF};
  uint8_t readback[4] = {0};

  rc = pokemultiM24SR(0x0002, pattern, 4);
  snprintf(msg, sizeof(msg), "[4a] pokem(0x0002,4) rc=%d\r\n", rc);
  uart_print(msg);

  rc = peekmultiM24SR(0x0002, readback, 4);
  snprintf(msg, sizeof(msg), "[4b] peekm(0x0002,4) rc=%d\r\n", rc);
  uart_print(msg);
  snprintf(msg, sizeof(msg), "    wr: %02X %02X %02X %02X\r\n",
           pattern[0],  pattern[1],  pattern[2],  pattern[3]);
  uart_print(msg);
  snprintf(msg, sizeof(msg), "    rd: %02X %02X %02X %02X\r\n",
           readback[0], readback[1], readback[2], readback[3]);
  uart_print(msg);
  snprintf(msg, sizeof(msg), "    match=%s\r\n",
           memcmp(pattern, readback, 4) == 0 ? "PASS" : "FAIL");
  uart_print(msg);

  /* Restore original bytes */
  pokemultiM24SR(0x0002, original, 4);

  /* [5] single byte poke + peek */
  uint8_t wr = 0xA5, rd = 0x00;
  rc = pokeM24SR(0x0004, &wr);
  snprintf(msg, sizeof(msg), "[5a] poke(0x0004,0xA5) rc=%d\r\n", rc);
  uart_print(msg);

  rc = peekM24SR(0x0004, &rd);
  snprintf(msg, sizeof(msg), "[5b] peek(0x0004) rc=%d val=0x%02X %s\r\n",
           rc, rd, rd == 0xA5 ? "PASS" : "FAIL");
  uart_print(msg);

  uart_print("=== Done ===\r\n");

  for (;;) { osDelay(1000); }
  /* USER CODE END 5 */
}

void Error_Handler(void)
{
  __disable_irq();
  while (1)
  {
  }
}
